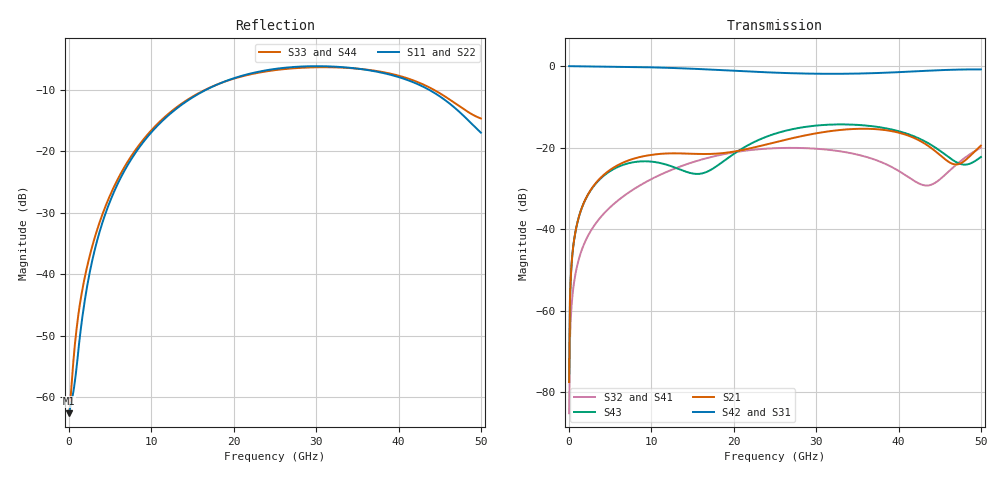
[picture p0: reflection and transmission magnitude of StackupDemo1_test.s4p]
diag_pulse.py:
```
"""脉冲响应诊断脚本：对 --dev 预设文件按多种频域窗输出时域波形对比图。

测试输入：C:/Users/33202/Desktop/HFSS script/StackupDemo1_test.s4p, port1=1, port2=3
关注问题：脉冲响应 t=0 不为 0、末端震荡。

用法：
    python dev_scripts/diag_pulse.py
    python dev_scripts/diag_pulse.py --tag fix1   # 给输出文件加 tag 区分多次尝试
"""
from __future__ import annotations

import argparse
import os
import sys
import numpy as np
import skrf as rf
import matplotlib
matplotlib.use("Agg")  # 仅出图存盘，不开窗
import matplotlib.pyplot as plt

ROOT = os.path.dirname(os.path.dirname(os.path.abspath(__file__)))
sys.path.insert(0, ROOT)

plt.rcParams["font.sans-serif"] = ["SimHei"] if sys.platform == "win32" else ["WenQuanYi Zen Hei"]
plt.rcParams["axes.unicode_minus"] = False

from QS_domain.algorithms.time_domain import compute_time_domain, td_default_params

TEST_FILE = r"C:/Users/33202/Desktop/HFSS script/StackupDemo1_test.s4p"
P1, P2 = 1, 3
WINDOWS = ["gaussian", "rect", "hanning", "hamming", "blackman", "tukey", "kaiser"]
ZH = {
    "gaussian": "高斯", "rect": "矩形", "hanning": "汉宁", "hamming": "汉明",
    "blackman": "布莱克曼", "tukey": "Tukey", "kaiser": "Kaiser",
}


def _summary(t_ps, y, label=""):
    """统计 t=0 值、末段 RMS、峰值时间。"""
    n = len(y)
    end_tail = y[int(n * 0.85):]
    return (
        f"  {label:>10s}  y[0]={y[0]:+.4e}  "
        f"|y_tail|_rms={np.sqrt(np.mean(end_tail ** 2)):+.4e}  "
        f"max={y.max():+.4e}@t={t_ps[np.argmax(y)]:.1f}ps  "
        f"min={y.min():+.4e}@t={t_ps[np.argmin(y)]:.1f}ps"
    )


def main():
    parser = argparse.ArgumentParser()
    parser.add_argument("--tag", default="default", help="输出图片文件 tag")
    parser.add_argument("--waveform", default="pulse",
                        choices=["pulse", "impulse", "step", "TDR"])
    args = parser.parse_args()

    out_dir = os.path.join(ROOT, "dev_scripts", "diag_out")
    os.makedirs(out_dir, exist_ok=True)

    print("=" * 70)
    print(f"诊断脉冲响应：{os.path.basename(TEST_FILE)}  S{P1},{P2}  waveform={args.waveform}")
    print("=" * 70)

    ntw = rf.Network(TEST_FILE)
    print(f"频率范围 : {ntw.f[0]/1e9:.4f} ~ {ntw.f[-1]/1e9:.2f} GHz   ({len(ntw.f)} 点)")
    df = (ntw.f[-1] - ntw.f[0]) / (len(ntw.f) - 1)
    print(f"df       : {df/1e9:.4f} GHz   (T_total = {1e12/df:.0f} ps)")
    defs = td_default_params(ntw)
    print(f"默认参数 : tr={defs['tr_ps']:.2f}ps  dt={defs['dt_ps']:.4f}ps  "
          f"n_points={defs['n_points']}")

    # 模仿主 UI：新默认 dt=td_default_params['dt_ps']，tr=3*dt，UI宽度=30*dt
    dt_ps = defs["dt_ps"]
    tr_ps = 3 * dt_ps
    pw_ps = 30 * dt_ps
    print(f"调用参数 : tr={tr_ps:.2f}ps  dt={dt_ps:.2f}ps  pw={pw_ps:.2f}ps   (主 UI 新默认)")
    print()

    fig, axes = plt.subplots(len(WINDOWS), 1,
                              figsize=(11, 1.7 * len(WINDOWS)), sharex=True)
    for ax, win in zip(axes, WINDOWS):
        r = compute_time_domain(
            ntw, P1, P2, waveform=args.waveform,
            tr_ps=tr_ps, dt_ps=dt_ps, pulse_width_ps=pw_ps,
            window_type=win,
        )
        t = r["time_ps"]
        y = r["y_data"]
        print(_summary(t, y, label=win))

        ax.plot(t, y, lw=1.0)
        ax.axhline(0, color="gray", lw=0.5, ls="--")
        ax.axvline(t[0], color="red", lw=0.5, ls=":")
        ax.set_ylabel(f"{ZH[win]}\n({win})", fontsize=8)
        ax.grid(True, alpha=0.3)
        ax.text(0.99, 0.92, f"y[0]={y[0]:+.3e}",
                transform=ax.transAxes, ha="right", va="top",
                fontsize=8, color="red")

    axes[-1].set_xlabel("时间 (ps)")
    axes[0].set_title(
        f"{os.path.basename(TEST_FILE)}  S{P1},{P2}  "
        f"{args.waveform}   tr={tr_ps:.1f}ps  dt={dt_ps:.1f}ps  pw={pw_ps:.0f}ps   "
        f"[tag: {args.tag}]"
    )
    plt.tight_layout()
    out_path = os.path.join(out_dir, f"pulse_{args.tag}_{args.waveform}_S{P1}{P2}.png")
    plt.savefig(out_path, dpi=110)
    print()
    print(f"图像已保存: {out_path}")


if __name__ == "__main__":
    main()
```
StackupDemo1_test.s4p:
! Touchstone file exported from HFSS 2019.1.0
!  File:  C:/Users/33202/Desktop/HFSS script/StackupDemo1_test.aedt
!  Generated:  5:38:57 ä¸å  8æ 29, 2025
!  Design:  StackupDesign
!  Project:  StackupDemo1_test
!  Setup:  Setup1
!  Solution:  Sweep1
! Variables:
!  Position_via_L11 = 0um
!  Position_via_L16 = 0um
!  Position_via_L4 = 758um
!  Position_via_L8 = 336um
!  Position_via_L9 = 240um
!  R_L10_pad_out = 45um
!  R_L11_pad_in = 45um
!  R_L11_pad_out = 45um
!  R_L12_pad_out = 45um
!  R_L13_pad_out = 45um
!  R_L14_pad_out = 45um
!  R_L15_pad_out = 45um
!  R_L16_pad_in = 150um
!  R_L16_pad_out = 150um
!  R_L4_pad_in = 45um
!  R_L4_pad_out = 45um
!  R_L5_pad_out = 45um
!  R_L6_pad_out = 45um
!  R_L7_pad_out = 45um
!  R_L8_pad_in = 50um
!  R_L8_pad_out = 100um
!  R_L9_pad_in = 100um
!  R_L9_pad_out = 50um
!  R_anti_L11 = 90um
!  R_anti_L16 = 450um
!  R_anti_L4 = 90um
!  R_anti_L8 = 180um
!  R_anti_L9 = 90um
!  R_anti_pcb = 400um
!  R_bottom_anti = 450um
!  R_bottom_pad = 150um
!  R_core_anti = 180um
!  R_core_pad = 100um
!  R_core_via = 50um
!  R_micro_anti = 90um
!  R_micro_c_anti = 100um
!  R_micro_c_pad = 50um
!  R_micro_c_via = 30um
!  R_micro_pad = 45um
!  R_micro_via = 30um
!  R_pad_pcb = 150um
!  R_via_pcb = 50um
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# GHz S RI R
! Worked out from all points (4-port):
!   500 points, 10 MHz to 50 GHz, reference per port
!   strongest paths, dB at 10 MHz, 12.53 GHz, 25.06 GHz, 37.58 GHz, 50 GHz:
!     S42: 0.0, -0.4, -1.6, -1.7, -0.8
!     S31: 0.0, -0.4, -1.6, -1.7, -0.8
!     S21: -77.5, -21.4, -18.7, -15.5, -19.5
!     S43: -77.5, -24.6, -16.6, -15.0, -22.3
!     S32: -85.2, -25.4, -20.1, -23.3, -20.0
!     S41: -85.2, -25.4, -20.1, -23.3, -20.0
!   lowest |S11| = -62.7 dB at 10 MHz (marker M1), VSWR 1.00
!   |S11| at or under -10 dB: start of sweep to 16.55 GHz; 43.78 GHz to end of sweep
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0.01  0.000736 1.08e-05  3.92e-05 0.000127  0.9992 -0.00151  -3.79e-05 -3.97e-05
      3.92e-05 0.000127  0.000736 1.08e-05  -3.79e-05 -3.97e-05  0.9992 -0.00151
      0.9992 -0.00151  -3.79e-05 -3.97e-05  0.000737 1e-05  3.93e-05 0.000127
      -3.79e-05 -3.97e-05  0.9992 -0.00151  3.93e-05 0.000127  0.000736 9.97e-06
6.321363  -0.0542 0.0301  0.0377 0.0516  0.6236 -0.7589  -0.0183 -0.0156
          0.0377 0.0516  -0.0543 0.0301  -0.0183 -0.0156  0.6235 -0.759
          0.6236 -0.7589  -0.0183 -0.0156  0.0171 -0.0647  0.0547 0.0251
          -0.0183 -0.0156  0.6235 -0.759  0.0547 0.0251  0.0171 -0.0647
50  -0.1337 0.0489  0.1049 0.014  0.8416 -0.3508  -0.0297 -0.0953
    0.1049 0.014  -0.1332 0.0497  -0.0297 -0.0954  0.8415 -0.3511
    0.8416 -0.3508  -0.0297 -0.0954  0.1797 -0.0474  -0.0562 0.0523
    -0.0297 -0.0953  0.8415 -0.3511  -0.0562 0.0523  0.18 -0.0466
